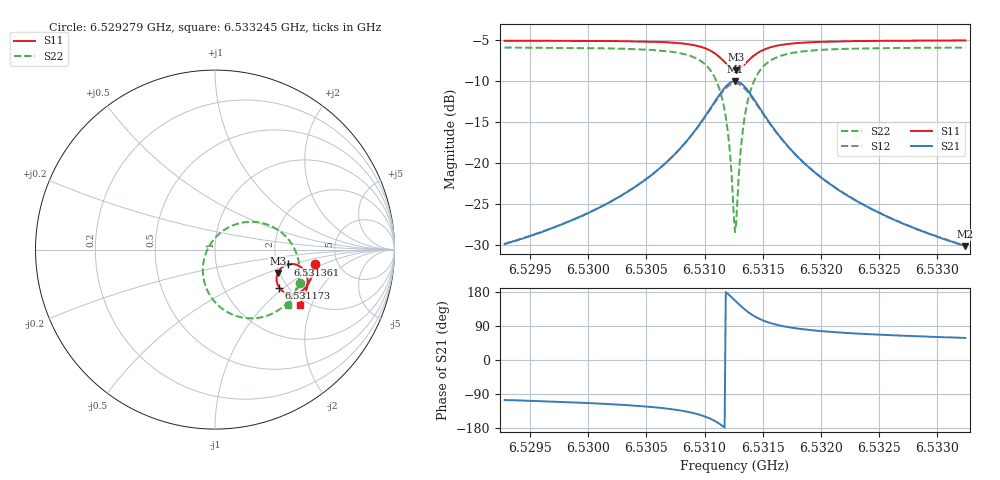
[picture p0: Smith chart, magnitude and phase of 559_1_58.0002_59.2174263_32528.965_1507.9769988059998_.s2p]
#  HZ  S  RI  R  50.00
! Rohde & Schwarz Vector Network Analyzer
! Rohde-Schwarz,ZNB20-2Port,1311601062101988,3.16
! Created: UTC 3/21/2024, 1:15:19 AM
! freq[Hz]  re:S11  im:S11  re:S21  im:S21  re:S12  im:S12  re:S22  im:S22
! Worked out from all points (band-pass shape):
!   401 points, 6.529279 GHz to 6.533245 GHz, reference 50 ohm
!   highest |S21| = -9.96 dB at 6.531262 GHz (marker M1); lowest = -30.1 dB at 6.533245 GHz (marker M2)
!   |S21| within 3 dB of the highest: 6.531065 GHz to 6.531462 GHz (396.5 kHz wide, 0.00607 % of centre)
!   lowest |S11| = -8.6 dB at 6.531272 GHz (marker M3), VSWR 2.19, Z = 97.9 - j29.6 ohm
!   |S11| at or under -10 dB: nowhere
!   |S22| runs from -28.4 to -5.9 dB; largest |S21 - S12| = 0.013
!   S11 on the Smith chart (normalised r, x): 6.529279 GHz: 3.36, -0.77; 6.531173 GHz: 1.81, -0.92; 6.531361 GHz: 2.30, -0.46; 6.533245 GHz: 1.82, -1.64
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6.5292787e9  0.5552 -0.0786  -0.00853 -0.031  -0.00925 -0.0308  0.4732 -0.188
6.5299432e9  0.5433 -0.134  -0.0186 -0.044  -0.0198 -0.0435  0.4403 -0.2495
6.5303002e9  0.5315 -0.1674  -0.0309 -0.0569  -0.0324 -0.056  0.4077 -0.2908
6.5306076e9  0.513 -0.2009  -0.0542 -0.0751  -0.0564 -0.0734  0.3549 -0.3362
6.5308357e9  0.4846 -0.23  -0.0957 -0.094  -0.0985 -0.0906  0.2715 -0.3739
6.5310043e9  0.439 -0.2481  -0.1663 -0.099  -0.1684 -0.092  0.1422 -0.3766
6.5311034e9  0.393 -0.2409  -0.2374 -0.07  -0.236 -0.0601  0.0234 -0.3159
6.5311728e9  0.3576 -0.2114  -0.289 -0.00831  -0.2823 0.0016  -0.0523 -0.2035
6.5312026e9  0.347 -0.19  -0.3021 0.0317  -0.293 0.0404  -0.0671 -0.1348
6.5312224e9  0.3432 -0.1735  -0.3048 0.062  -0.2946 0.0692  -0.0662 -0.0849
6.5312522e9  0.3444 -0.147  -0.298 0.109  -0.2864 0.1132  -0.0466 -0.00921
6.5312621e9  0.3467 -0.1383  -0.2925 0.1243  -0.2808 0.1275  -0.0352 0.0146
6.531272e9  0.3499 -0.1299  -0.2856 0.139  -0.2739 0.1409  -0.0211 0.0375
6.5313216e9  0.3769 -0.0961  -0.2333 0.1968  -0.2237 0.1945  0.0737 0.1229
6.5313613e9  0.4054 -0.0825  -0.1821 0.2197  -0.1753 0.216  0.1616 0.152
6.5314307e9  0.4504 -0.0831  -0.1037 0.22  -0.1005 0.2166  0.2923 0.1391
6.5315299e9  0.4891 -0.1067  -0.0372 0.1863  -0.0358 0.1845  0.3998 0.0676
6.5316786e9  0.511 -0.144  0.0022 0.1369  0.00326 0.1361  0.4574 -0.0315
6.5319265e9  0.5158 -0.1881  0.0182 0.0891  0.0193 0.0889  0.4707 -0.1312
6.5322538e9  0.5083 -0.2274  0.0203 0.0588  0.0213 0.0585  0.4582 -0.2023
6.5325909e9  0.4968 -0.2583  0.0192 0.0426  0.02 0.0423  0.4406 -0.2477
6.5332455e9  0.4709 -0.3077  0.0164 0.0266  0.0171 0.0265  0.4059 -0.3067
